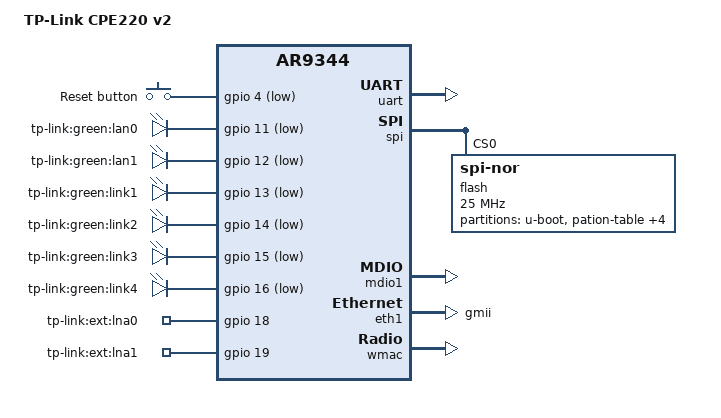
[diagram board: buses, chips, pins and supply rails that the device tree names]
// SPDX-License-Identifier: GPL-2.0-or-later OR MIT
/dts-v1/;

#include <dt-bindings/gpio/gpio.h>
#include <dt-bindings/input/input.h>

#include "ar9344.dtsi"

/ {
	model = "TP-Link CPE220 v2";
	compatible = "tplink,tl-cpe220-v2";

	keys {
		compatible = "gpio-keys-polled";
		poll-interval = <20>;

		pinctrl-names = "default";
		pinctrl-0 = <&jtag_disable_pins>;

		reset {
			label = "Reset button";
			linux,code = <KEY_RESTART>;
			gpios = <&gpio 4 GPIO_ACTIVE_LOW>;
			debounce-interval = <60>;
		};
	};

	leds {
		compatible = "gpio-leds";

		lan0 {
			label = "tp-link:green:lan0";
			gpios = <&gpio 11 GPIO_ACTIVE_LOW>;
			default-state = "off";
		};

		lan1 {
			label = "tp-link:green:lan1";
			gpios = <&gpio 12 GPIO_ACTIVE_LOW>;
			default-state = "off";
		};

		link1 {
			label = "tp-link:green:link1";
			gpios = <&gpio 13 GPIO_ACTIVE_LOW>;
			default-state = "off";
		};

		link2 {
			label = "tp-link:green:link2";
			gpios = <&gpio 14 GPIO_ACTIVE_LOW>;
			default-state = "off";
		};

		link3 {
			label = "tp-link:green:link3";
			gpios = <&gpio 15 GPIO_ACTIVE_LOW>;
			default-state = "off";
		};

		link4 {
			label = "tp-link:green:link4";
			gpios = <&gpio 16 GPIO_ACTIVE_LOW>;
			default-state = "off";
		};
	};

	gpio-export {
		compatible = "gpio-export";

		gpio_ext_lna0 {
			gpio-export,name = "tp-link:ext:lna0";
			gpio-export,output = <1>;
			gpios = <&gpio 18 GPIO_ACTIVE_HIGH>;
		};

		gpio_ext_lna1 {
			gpio-export,name = "tp-link:ext:lna1";
			gpio-export,output = <1>;
			gpios = <&gpio 19 GPIO_ACTIVE_HIGH>;
		};
	};
};

&ref {
	clock-frequency = <40000000>;
};

&uart {
	status = "okay";
};

&gpio {
	status = "okay";
};

&spi {
	num-cs = <1>;

	status = "okay";

	flash@0 {
		compatible = "jedec,spi-nor";
		reg = <0>;
		spi-max-frequency = <25000000>;

		partitions {
			compatible = "fixed-partitions";
			#address-cells = <1>;
			#size-cells = <1>;

			partition@0 {
				label = "u-boot";
				reg = <0x000000 0x020000>;
				read-only;
			};

			partition@20000 {
				label = "pation-table";
				reg = <0x020000 0x010000>;
				read-only;
			};

			info: partition@30000 {
				label = "product-info";
				reg = <0x030000 0x010000>;
				read-only;
			};

			partition@40000 {
				label = "firmware";
				reg = <0x040000 0x780000>;
			};

			partition@7c0000 {
				label = "config";
				reg = <0x7c0000 0x030000>;
				read-only;
			};

			ART: partition@7f0000 {
				label = "ART";
				reg = <0x7f0000 0x010000>;
				read-only;
			};
		};
	};
};
			
&mdio1 {
	status = "okay";
};

&eth1 {
	status = "okay";

	phy-mode = "gmii";
	mtd-mac-address = <&info 0x8>;
};

&wmac {
	status = "okay";
	mtd-cal-data = <&ART 0x1000>;
	mtd-mac-address = <&info 0x8>;
};
